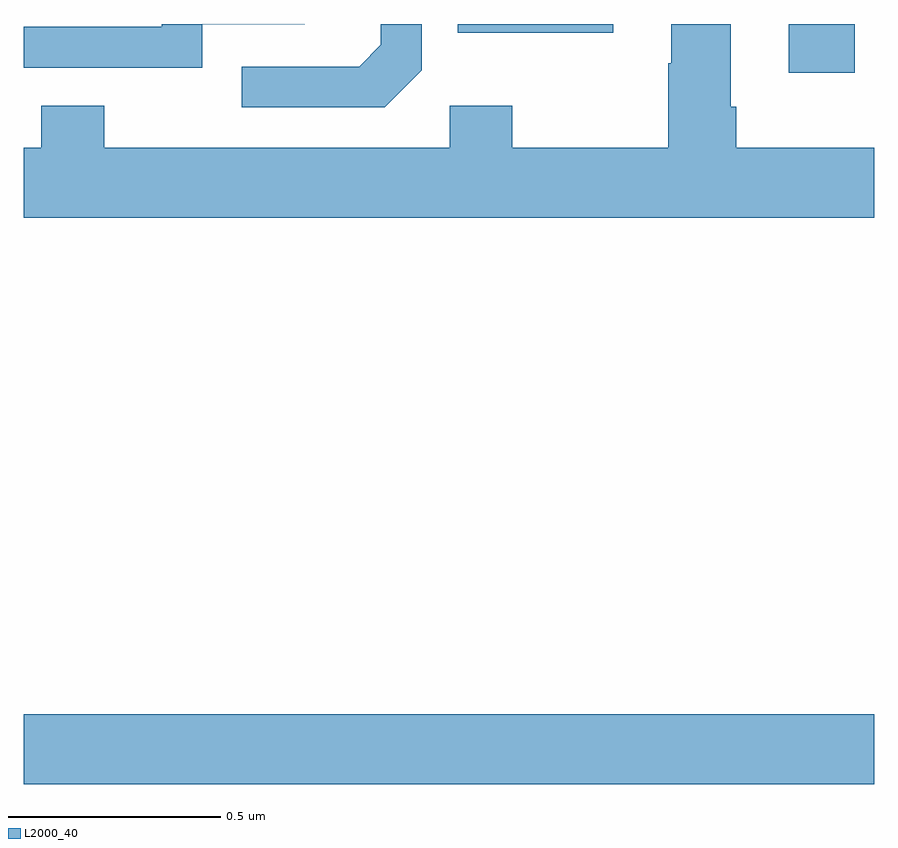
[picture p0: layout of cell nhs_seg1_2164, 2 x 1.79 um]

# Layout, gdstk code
import gdstk
lib = gdstk.Library(unit=1e-6, precision=1e-09)
def R(c, l, rs):  # rectangles x0, y0, x1, y1
    for r in rs: c.add(gdstk.rectangle(r[:2], r[2:], *l))
def P(c, l, *ps):  # polygons
    for p in ps: c.add(gdstk.Polygon(p, *l))
L2000_40 = (2000, 40)

nhs_seg1_2164 = lib.new_cell('nhs_seg1_2164')
R(nhs_seg1_2164, L2000_40, [(138,538.412,140,538.576), (139.799,540.084,139.954,540.199), (139.021,540.179,139.386,540.199)])
P(nhs_seg1_2164, L2000_40, [(140,539.908),(139.676,539.908),(139.676,540.004),(139.663,540.004),(139.663,540.199),(139.523,540.199),(139.523,540.107),(139.516,540.107),(139.516,539.908),(139.149,539.908),(139.149,540.007),(139.002,540.007),(139.002,539.908),(138.189,539.908),(138.189,540.007),(138.041,540.007),(138.041,539.908),(138,539.908),(138,539.744),(140,539.744)],
  [(138.936,540.09),(138.936,540.199),(138.84,540.199),(138.84,540.15),(138.789,540.099),(138.513,540.099),(138.513,540.003),(138.849,540.003)],
  [(138.42,540.198),(138.66,540.198),(138.661,540.199),(138.324,540.199),(138.324,540.192),(138,540.192),(138,540.096),(138.42,540.096)])

lib.write_gds('nhs_seg1_2164.gds')
